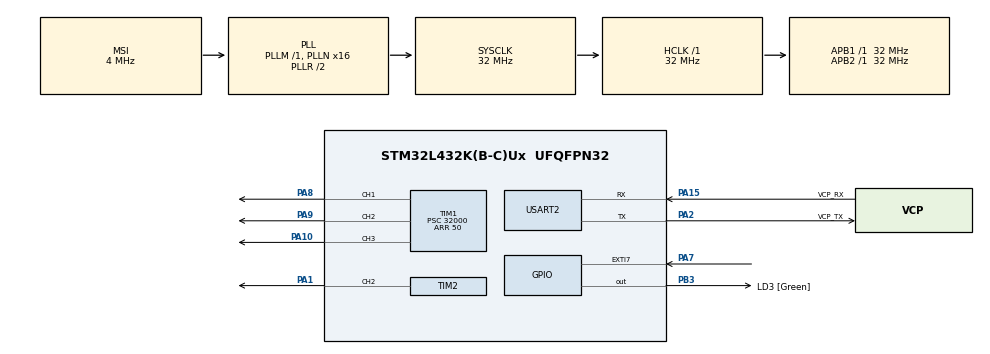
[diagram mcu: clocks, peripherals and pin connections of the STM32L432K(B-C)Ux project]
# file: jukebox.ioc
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Mcu.Family=STM32L4
Mcu.Name=STM32L432K(B-C)Ux
Mcu.Package=UFQFPN32
NVIC.EXTI9_5_IRQn=true\:0\:0\:false\:false\:true\:true\:true\:true
NVIC.PriorityGroup=NVIC_PRIORITYGROUP_4
NVIC.TIM1_BRK_TIM15_IRQn=true\:0\:0\:false\:false\:true\:true\:true\:true
NVIC.TIM1_CC_IRQn=true\:0\:0\:false\:false\:true\:true\:true\:true
NVIC.TIM1_TRG_COM_IRQn=true\:0\:0\:false\:false\:true\:true\:true\:true
NVIC.TIM1_UP_TIM16_IRQn=true\:0\:0\:false\:false\:true\:true\:true\:true
NVIC.TIM2_IRQn=true\:0\:0\:false\:false\:true\:true\:true\:true
PA0.GPIO_Label=MCO [High speed clock in]
PA0.Mode=HSE-External-Clock-Source-for-LittleOrca
PA0.Signal=RCC_CK_IN
PA1.Signal=S_TIM2_CH2
PA10.Signal=S_TIM1_CH3
PA13\ (JTMS-SWDIO).GPIO_Label=SWDIO
PA13\ (JTMS-SWDIO).Mode=Serial_Wire
PA13\ (JTMS-SWDIO).Signal=SYS_JTMS-SWDIO
PA14\ (JTCK-SWCLK).GPIO_Label=SWCLK
PA14\ (JTCK-SWCLK).Mode=Serial_Wire
PA14\ (JTCK-SWCLK).Signal=SYS_JTCK-SWCLK
PA15\ (JTDI).GPIO_Label=VCP_RX
PA15\ (JTDI).Mode=Asynchronous
PA15\ (JTDI).Signal=USART2_RX
PA2.GPIO_Label=VCP_TX
PA2.Mode=Asynchronous
PA2.Signal=USART2_TX
PA7.Signal=GPXTI7
PA8.Signal=S_TIM1_CH1
PA9.Signal=S_TIM1_CH2
PB3\ (JTDO-TRACESWO).GPIO_Label=LD3 [Green]
PB3\ (JTDO-TRACESWO).Signal=GPIO_Output
PC14-OSC32_IN\ (PC14).Mode=LSE-External-Oscillator
PC14-OSC32_IN\ (PC14).Signal=RCC_OSC32_IN
PC15-OSC32_OUT\ (PC15).Mode=LSE-External-Oscillator
PC15-OSC32_OUT\ (PC15).Signal=RCC_OSC32_OUT
ProjectManager.HeapSize=0x200
ProjectManager.StackSize=0x400
ProjectManager.TargetToolchain=Makefile
RCC.AHBFreq_Value=32000000
RCC.APB1Freq_Value=32000000
RCC.APB1TimFreq_Value=32000000
RCC.APB2Freq_Value=32000000
RCC.APB2TimFreq_Value=32000000
RCC.CortexFreq_Value=32000000
RCC.HCLKFreq_Value=32000000
RCC.HSE_VALUE=8000000
RCC.HSI16_VALUE=16000000
RCC.HSI48_VALUE=48000000
RCC.HSI_VALUE=16000000
RCC.MSI_VALUE=4000000
RCC.PLLMUL=RCC_PLLMUL_4
RCC.PLLN=16
RCC.SYSCLKFreq_VALUE=32000000
RCC.SYSCLKSource=RCC_SYSCLKSOURCE_PLLCLK
RCC.VCOOutputFreq_Value=64000000
SH.S_TIM1_CH1.0=TIM1_CH1,PWM Generation1 CH1
SH.S_TIM1_CH2.0=TIM1_CH2,PWM Generation2 CH2
SH.S_TIM1_CH3.0=TIM1_CH3,PWM Generation3 CH3
SH.S_TIM2_CH2.0=TIM2_CH2,PWM Generation2 CH2
TIM1.Channel-PWM\ Generation1\ CH1=TIM_CHANNEL_1
TIM1.Channel-PWM\ Generation2\ CH2=TIM_CHANNEL_2
TIM1.Channel-PWM\ Generation3\ CH3=TIM_CHANNEL_3
TIM1.Period=50
TIM1.Prescaler=32000
TIM1.Pulse-PWM\ Generation1\ CH1=65535
TIM1.Pulse-PWM\ Generation2\ CH2=65535
TIM1.Pulse-PWM\ Generation3\ CH3=65535
TIM15.Period=100
TIM15.Prescaler=32000
TIM2.Channel-PWM\ Generation2\ CH2=TIM_CHANNEL_2
USART2.VirtualMode-Asynchronous=VM_ASYNC
VP_TIM15_VS_ClockSourceINT.Mode=Internal
VP_TIM1_VS_ClockSourceINT.Mode=Internal
board=NUCLEO-L432KC

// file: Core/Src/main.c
/* USER CODE BEGIN Header */
/**
  ******************************************************************************
  * @file           : main.c
  * @brief          : Main program body
  ******************************************************************************
  * @attention
  *
  * Copyright (c) 2022 STMicroelectronics.
  * All rights reserved.
  *
  * This software is licensed under terms that can be found in the LICENSE file
  * in the root directory of this software component.
  * If no LICENSE file comes with this software, it is provided AS-IS.
  *
  ******************************************************************************
  */
/* USER CODE END Header */
#include "main.h"

/* USER CODE BEGIN Includes */
#include <stdio.h>
/* USER CODE END Includes */

/* USER CODE BEGIN PD */
#define NOTE_C3 131
#define NOTE_C3_S 138
#define NOTE_D3 147
#define NOTE_D3_S 155
#define NOTE_E3 165
#define NOTE_F3 174
#define NOTE_F3_S 185
#define NOTE_G3 196
#define NOTE_G3_S 207
#define NOTE_A3 220
#define NOTE_A3_S 233
#define NOTE_H3 247
#define NOTE_C4 261
#define NOTE_C4_S 277
#define NOTE_D4 293
#define NOTE_D4_S 311
#define NOTE_E4 329
#define NOTE_F4 349
#define NOTE_F4_S 370
#define NOTE_G4 392
#define NOTE_G4_S 415
#define NOTE_A4 440
#define NOTE_A4_S 466
#define NOTE_H4 494
#define NOTE_C5 523
#define NOTE_C5_S 554
#define NOTE_D5 587
#define NOTE_D5_S 622
#define NOTE_E5 659
#define NOTE_F5 698
#define NOTE_F5_S 740
#define NOTE_G5 784
#define NOTE_G5_S 830
#define NOTE_A5 880
#define NOTE_A5_S 932
#define NOTE_H5 988

#define RGB_NUM 3
/* USER CODE END PD */

 TIM_HandleTypeDef htim1;
TIM_HandleTypeDef htim2;
TIM_HandleTypeDef htim15;

UART_HandleTypeDef huart2;

/* USER CODE BEGIN PV */
int clock = 32000000;
int frequency;
int ARR;
int CCR;
int note;
int rythm;
int count = 0;
typedef enum {false, true} bool;
bool state = true;
int status_buffer = 0;
int tempo;
int wholenote;
int divide;
int duration;
// typedef struct color{
//   int red;
//   int green;
//   int blue;
// };
// typedef struct color rgb;
int red [RGB_NUM] = {255,0,0};
int orange [RGB_NUM] = {255,127,0};
int yellow [RGB_NUM] = {255,255,0};
int chartreuse [RGB_NUM] = {127,255,0};
int green [RGB_NUM] = {0,255,0};
int spring_green [RGB_NUM] = {0,255,127};
int cyan [RGB_NUM] = {0,255,255};
int azure [RGB_NUM] = {0,127,255};
int blue [RGB_NUM] = {0,0,255};
int violet [RGB_NUM] = {127,0,255};
int magenta [RGB_NUM] = {255,0,255};
int rose [RGB_NUM] = {255,0,127};
/* USER CODE END PV */

void SystemClock_Config(void);
static void MX_GPIO_Init(void);
static void MX_USART2_UART_Init(void);
static void MX_TIM1_Init(void);
static void MX_TIM2_Init(void);
static void MX_TIM15_Init(void);

/* USER CODE BEGIN 0 */
void HAL_GPIO_EXTI_Callback(uint16_t GPIO_Pin)
{
  if(GPIO_Pin == GPIO_PIN_7 && state == true){
	HAL_TIM_Base_Start_IT(&htim15);
	state = false;

  }

}

void HAL_TIM_PeriodElapsedCallback(TIM_HandleTypeDef *htim)
{
  /* Prevent unused argument(s) compilation warning */
  UNUSED(htim);

  /* NOTE : This function should not be modified, when the callback is needed,
            the HAL_TIM_PeriodElapsedCallback could be implemented in the user file
   */
	//if(HAL_GPIO_ReadPin(GPIOA, GPIO_PIN_7) == GPIO_PIN_RESET){  // should probably be used
		if(count < 3){
		      count++;
		      }
		      else{
		        count = 0;
		      }
		   // }
		state = true;
		HAL_TIM_Base_Stop_IT(&htim15);

}
int* get_note(int note){

	if(note == 131 || note == 261 || note == 523){
		return rose;
	}else if(note == 138 || note == 277 || note == 554){
		return magenta;
	}else if(note == 147 || note == 293 || note == 587){
		return violet;
	}else if(note == 155 || note == 311 || note == 622){
		return blue;
	}else if(note == 165 || note == 329 || note == 659){
		return azure;
	}else if(note == 174 || note == 349 || note == 698){
		return cyan;
	}else if(note == 185 || note == 370 || note == 740){
		return spring_green;
	}else if(note == 196 || note == 392 || note == 784){
		return green;
	}else if(note == 207 || note == 415 || note == 830){
		return chartreuse;
	}else if(note == 220 || note == 440 || note == 880){
		return yellow;
	}else if(note == 233 || note == 466 || note == 932){
		return orange;
	}else{
		return red;
	}
}

int set_color(int note)
{
  int* color = get_note(note);
  int red = *(color + 0);
  int green = *(color + 1);
  int blue = *(color + 2);
  htim1.Instance->CCR1 = red * 257;
  htim1.Instance->CCR2 = green * 257;
  htim1.Instance->CCR3 = blue * 257;

}
int reset_color()
{
  int red;
  int green;
  int blue;
  htim1.Instance->CCR1 = red * 0;
  htim1.Instance->CCR2 = green * 0;
  htim1.Instance->CCR3 = blue * 0;

}

void frequency_change(int note) {
		ARR = clock/note;
		CCR = ARR/2;
		__HAL_TIM_SET_COUNTER(&htim2, 0);
	  __HAL_TIM_SET_AUTORELOAD(&htim2, ARR);
	  __HAL_TIM_SET_COMPARE(&htim2, TIM_CHANNEL_2, CCR);
};

void play_note(int rythm, int note) {
  if(status_buffer == count){
  wholenote = 240000 / tempo;
  if(rythm <= 16 && rythm >= 0){
    duration = wholenote / rythm;
  }else if(rythm < 0){
    duration = wholenote / abs(rythm);
    duration *= 1.5;
  }else{
    duration = wholenote * 10 / rythm;
    duration *= 0.5;
  }
  HAL_TIM_PWM_Start(&htim2, TIM_CHANNEL_2);
  set_color(note);
  HAL_Delay(duration*0.9);
  reset_color();
  HAL_TIM_PWM_Stop(&htim2, TIM_CHANNEL_2);
  HAL_Delay(duration);
  }
};

void play(int note, int rythm){
	frequency_change(note);
	play_note(rythm, note);
};

void godfather(){
  status_buffer = 2;
  tempo = 100;
  play(NOTE_E4, 8);
	play(NOTE_A4, 8);
	play(NOTE_C5, 8);
  play(NOTE_H4, 8);
	play(NOTE_A4, 8);
	play(NOTE_C5, 8);
  play(NOTE_A4, 8);
  play(NOTE_H4, 8);
  play(NOTE_A4, 8);
  play(NOTE_F4, 8);
  play(NOTE_G4, 8);
  play(NOTE_E4, 8);
  play(0, 6);
  play(NOTE_E4, 8);
  play(NOTE_A4, 8);
  play(NOTE_C5, 8);
  play(NOTE_H4, 8);
  play(NOTE_A4, 8);
  play(NOTE_C5, 8);
  play(NOTE_A4, 8);
  play(NOTE_C5, 8);
  play(NOTE_A4, 8);
  play(NOTE_E4, 8);
  play(NOTE_D4_S, 8);

  play(NOTE_D4, 8);
  play(NOTE_D4, 8);
  play(NOTE_F4, 8);
  play(NOTE_G4_S, 8);
  play(NOTE_H4, 8);
  play(NOTE_D4, 8);
  play(NOTE_F4, 8);
  play(NOTE_G4_S, 8);
  play(NOTE_A4, 8);
  play(NOTE_C4, 8);
  play(NOTE_C4, 8);
  play(NOTE_G4, 8);
  play(NOTE_F4, 8);
  play(NOTE_E4, 8);
  play(NOTE_G4, 8);
  play(NOTE_F4, 8);
  play(NOTE_F4, 8);
  play(NOTE_E4, 8);
  play(NOTE_E4, 8);
  play(NOTE_G4_S, 8);

  play(NOTE_A4, 8);

}

void monkey_island(){
  status_buffer = 3;
  tempo = 140;
  play(NOTE_H4,4);
  play(NOTE_H4,40);
  play(NOTE_D5,40);
  play(NOTE_C5_S,40);
  play(NOTE_H4,40);
  play(NOTE_A4,4);
  play(NOTE_H4,-1);
  play(NOTE_A4,4);
  play(NOTE_A4,40);
  play(NOTE_G4,40);
  play(NOTE_F4_S,40);
  play(NOTE_A4,40);
  play(NOTE_G4,4);
  play(NOTE_G4,4);
  play(NOTE_F4_S,-2);
  play(NOTE_H4,4);
  play(NOTE_H4,-4);
  play(NOTE_D5,8);
  play(NOTE_C5_S,40);
  play(NOTE_H4,40);
  play(NOTE_A4,4);
  play(NOTE_H4,-2);
  play(0,8);
  play(NOTE_C5_S,8);
  play(NOTE_D5,4);
  play(NOTE_D5,4);
  play(NOTE_E5,2);

  play(NOTE_C5_S,-4);
  play(NOTE_D5,8);
  play(NOTE_C5_S,40);
  play(NOTE_H4,40);
  play(NOTE_A4,40);
  play(NOTE_C5_S,40);
  play(NOTE_D5,4);
  play(NOTE_D5,4);
  play(NOTE_C5_S,2);
  play(NOTE_H4,-4);
  play(NOTE_D5,8);
  play(NOTE_C5_S,40);
  play(NOTE_H4,40);
  play(NOTE_A4,40);
  play(NOTE_C5_S,40);
  play(NOTE_D5,4);
  play(NOTE_D5,4);
  play(NOTE_C5_S,2);
  play(NOTE_H4,-4);
  play(NOTE_D5,8);
  play(NOTE_C5_S,40);
  play(NOTE_H4,40);
  play(NOTE_A4,40);
  play(NOTE_C5_S,40);
  play(NOTE_D5,4);
  play(NOTE_D5,4);
  play(NOTE_C5_S,2);
  play(NOTE_H4,-4);
  play(NOTE_D5,8);
  play(NOTE_C5_S,40);
  play(NOTE_H4,40);
  play(NOTE_A4,4);
  play(NOTE_H4,4);
  play(NOTE_H4,4);
  play(NOTE_H4,2);
  play(NOTE_H4,-2);
  play(NOTE_H4,8);
  play(NOTE_A4,40);
  play(NOTE_G4,40);
  play(NOTE_F4_S,40);
  play(NOTE_A4,40);

  play(NOTE_G4,4);
  play(NOTE_G4,4);
  play(NOTE_F4_S,2);
  play(NOTE_F4_S,1);
  play(0,1);
  play(NOTE_F4_S,4);
  play(NOTE_A4,4);
  play(NOTE_H4,4);
  play(NOTE_D5,4);
  play(NOTE_D5,2);
  play(NOTE_G5,40);
  play(NOTE_F5_S,40);
  play(NOTE_E5,40);
  play(NOTE_G5,40);
  play(NOTE_F5_S,4);
  play(NOTE_D5,4);
  play(NOTE_D5,2);
  play(0,8);
  play(NOTE_D5,-4);
  play(NOTE_E5,4);
  play(NOTE_A4,4);

  play(NOTE_A4,-4);
  play(NOTE_E5,8);
  play(NOTE_F5_S,40);
  play(NOTE_E5,40);
  play(NOTE_D5,40);
  play(NOTE_E5,40);
  play(NOTE_F5_S,4);
  play(NOTE_D5,4);
  play(NOTE_D5,4);
  play(NOTE_H4,4);
  play(NOTE_H4,2);
  play(NOTE_C5_S,4);
  play(NOTE_D5,4);
  play(NOTE_E5,1);
  play(NOTE_E5,2);
  play(NOTE_E5,2);
  play(NOTE_H4,1);
  play(NOTE_H4,2);
};

void imperial_march() {
  status_buffer = 0;
  tempo = 120;
	play(NOTE_A4, 6);
	play(NOTE_A4, 6);
	play(NOTE_A4, 16);
  play(NOTE_A4, 16);
	play(NOTE_A4, 16);
	play(NOTE_A4, 16);
  play(NOTE_F4, 8);
  play(0, 8);
	play(NOTE_A4, 6);
	play(NOTE_A4, 6);
	play(NOTE_A4, 16);
  play(NOTE_A4, 16);
	play(NOTE_A4, 16);
	play(NOTE_A4, 16);
  play(NOTE_F4, 8);
  play(0, 8);
  play(NOTE_A4, 4);
  play(NOTE_A4, 4);
  play(NOTE_A4, 4);
  play(NOTE_F4, 12);
  play(NOTE_C5, 16);

  play(NOTE_A4, 4);
  play(NOTE_F4, 12);
  play(NOTE_C5, 16);
  play(NOTE_A4, 2);
  play(NOTE_E5, 4);
  play(NOTE_E5, 4);
  play(NOTE_E5, 4);
  play(NOTE_F5, 12);
  play(NOTE_C5, 16);
  play(NOTE_A4, 4);
  play(NOTE_F4, 12);
  play(NOTE_C5, 16);
  play(NOTE_A4, 2);

  play(NOTE_A5, 4);
  play(NOTE_A4, 12);
  play(NOTE_A4, 16);
  play(NOTE_A5, 4);
  play(NOTE_G5_S, 12);
  play(NOTE_G5, 16);
  play(NOTE_D5_S, 16);
  play(NOTE_D5, 16);
  play(NOTE_D5_S, 8);
  play(0, 8);
  play(NOTE_A4, 8);
  play(NOTE_D5_S, 4);
  play(NOTE_D5, 12);
  play(NOTE_C5_S, 16);

  play(NOTE_C5, 16);
  play(NOTE_H4, 16);
  play(NOTE_C5, 16);
  play(0, 8);
  play(NOTE_F4, 8);
  play(NOTE_G4_S, 4);
  play(NOTE_F4, 12);
  play(NOTE_A4, 24);
  play(NOTE_C5, 4);
  play(NOTE_A4, 12);
  play(NOTE_C5, 16);
  play(NOTE_E5, 2);

  play(NOTE_A5, 4);
  play(NOTE_A4, 12);
  play(NOTE_A4, 16);
  play(NOTE_A5, 4);
  play(NOTE_G5_S, 12);
  play(NOTE_G5, 16);
  play(NOTE_D5_S, 16);
  play(NOTE_D5, 16);
  play(NOTE_D5_S, 8);
  play(0, 8);
  play(NOTE_A4, 8);
  play(NOTE_D5_S, 4);
  play(NOTE_D5, 12);
  play(NOTE_C5_S, 16);

  play(NOTE_C5, 16);
  play(NOTE_H4, 16);
  play(NOTE_C5, 16);
  play(0, 8);
  play(NOTE_F4, 8);
  play(NOTE_G4_S, 4);
  play(NOTE_F4, 12);
  play(NOTE_A4, 24);
  play(NOTE_C5, 4);
  play(NOTE_A4, 12);
  play(NOTE_C5, 16);
  play(NOTE_E5, 2);

};

void tetris(){
  status_buffer = 1;
  tempo = 144;
  play(NOTE_E5, 4);
  play(NOTE_H4,8);
  play(NOTE_C5,8);
  play(NOTE_D5,4);
  play(NOTE_C5,8);
  play(NOTE_H4,8);
  play(NOTE_A4, 4);
  play(NOTE_A4,8);
  play(NOTE_C5,8);
  play(NOTE_E5,4);
  play(NOTE_D5,8);
  play(NOTE_C5,8);
  play(NOTE_H4, -4);
  play(NOTE_C5,8);
  play(NOTE_D5,4);
  play(NOTE_E5,4);
  play(NOTE_C5, 4);
  play(NOTE_A4,4);
  play(NOTE_A4,8);
  play(NOTE_A4,4);
  play(NOTE_H4,8);
  play(NOTE_C5,8);

  play(NOTE_D5, -4);
  play(NOTE_F5,8);
  play(NOTE_A5,4);
  play(NOTE_G5,8);
  play(NOTE_F5,8);
  play(NOTE_E5, -4);
  play(NOTE_C5,8);
  play(NOTE_E5,4);
  play(NOTE_D5,8);
  play(NOTE_C5,8);
  play(NOTE_H4, 4);
  play(NOTE_H4,8);
  play(NOTE_C5,8);
  play(NOTE_D5,4);
  play(NOTE_E5,4);
  play(NOTE_C5, 4);
  play(NOTE_A4,4);
  play(NOTE_A4,4);
  play(0, 4);

  play(NOTE_E5, 4);
  play(NOTE_H4,8);
  play(NOTE_C5,8);
  play(NOTE_D5,4);
  play(NOTE_C5,8);
  play(NOTE_H4,8);
  play(NOTE_A4, 4);
  play(NOTE_A4,8);
  play(NOTE_C5,8);
  play(NOTE_E5,4);
  play(NOTE_D5,8);
  play(NOTE_C5,8);
  play(NOTE_H4, -4);
  play(NOTE_C5,8);
  play(NOTE_D5,4);
  play(NOTE_E5,4);
  play(NOTE_C5, 4);
  play(NOTE_A4,4);
  play(NOTE_A4,8);
  play(NOTE_A4,4);
  play(NOTE_H4,8);
  play(NOTE_C5,8);

  play(NOTE_D5, -4);
  play(NOTE_F5,8);
  play(NOTE_A5,4);
  play(NOTE_G5,8);
  play(NOTE_F5,8);
  play(NOTE_E5, -4);
  play(NOTE_C5,8);
  play(NOTE_E5,4);
  play(NOTE_D5,8);
  play(NOTE_C5,8);
  play(NOTE_H4, 4);
  play(NOTE_H4,8);
  play(NOTE_C5,8);
  play(NOTE_D5,4);
  play(NOTE_E5,4);
  play(NOTE_C5, 4);
  play(NOTE_A4,4);
  play(NOTE_A4,4);
  play(0, 4);

  play(NOTE_E5,2);
  play(NOTE_C5,2);
  play(NOTE_D5,2);
  play(NOTE_H4,2);
  play(NOTE_C5,2);
  play(NOTE_A4,2);
  play(NOTE_G4_S,2);
  play(NOTE_H4,4);
  play(0,8);
  play(NOTE_E5,2);
  play(NOTE_C5,2);
  play(NOTE_D5,2);
  play(NOTE_H4,2);
  play(NOTE_C5,4);
  play(NOTE_E5,4);
  play(NOTE_A5,2);
  play(NOTE_G5_S,2);

}

/* USER CODE END 0 */

int main(void)
{

  /* MCU Configuration--------------------------------------------------------*/

  /* Reset of all peripherals, Initializes the Flash interface and the Systick. */
  HAL_Init();

  /* Configure the system clock */
  SystemClock_Config();

  /* Initialize all configured peripherals */
  MX_GPIO_Init();
  MX_USART2_UART_Init();
  MX_TIM1_Init();
  MX_TIM2_Init();
  MX_TIM15_Init();
  /* USER CODE BEGIN 2 */
  HAL_TIM_PWM_Start (&htim1, TIM_CHANNEL_1);
  HAL_TIM_PWM_Start (&htim1, TIM_CHANNEL_2);
  HAL_TIM_PWM_Start (&htim1, TIM_CHANNEL_3);
  /* USER CODE END 2 */

  /* Infinite loop */
  /* USER CODE BEGIN WHILE */
  while (1)
  {
    if (count == 0) {
      imperial_march();
    };
    if (count == 1) {
      tetris();

    };
    if (count == 2) {
      godfather();
    };
    if (count == 3) {
    	monkey_island();
    };

    /* USER CODE END WHILE */

  }
}

void SystemClock_Config(void)
{
  RCC_OscInitTypeDef RCC_OscInitStruct = {0};
  RCC_ClkInitTypeDef RCC_ClkInitStruct = {0};

  /** Configure the main internal regulator output voltage
  */
  if (HAL_PWREx_ControlVoltageScaling(PWR_REGULATOR_VOLTAGE_SCALE1) != HAL_OK)
  {
    Error_Handler();
  }

  /** Configure LSE Drive Capability
  */
  HAL_PWR_EnableBkUpAccess();
  __HAL_RCC_LSEDRIVE_CONFIG(RCC_LSEDRIVE_LOW);

  /** Initializes the RCC Oscillators according to the specified parameters
  * in the RCC_OscInitTypeDef structure.
  */
  RCC_OscInitStruct.OscillatorType = RCC_OSCILLATORTYPE_LSE|RCC_OSCILLATORTYPE_MSI;
  RCC_OscInitStruct.LSEState = RCC_LSE_ON;
  RCC_OscInitStruct.MSIState = RCC_MSI_ON;
  RCC_OscInitStruct.MSICalibrationValue = 0;
  RCC_OscInitStruct.MSIClockRange = RCC_MSIRANGE_6;
  RCC_OscInitStruct.PLL.PLLState = RCC_PLL_ON;
  RCC_OscInitStruct.PLL.PLLSource = RCC_PLLSOURCE_MSI;
  RCC_OscInitStruct.PLL.PLLM = 1;
  RCC_OscInitStruct.PLL.PLLN = 16;
  RCC_OscInitStruct.PLL.PLLP = RCC_PLLP_DIV7;
  RCC_OscInitStruct.PLL.PLLQ = RCC_PLLQ_DIV2;
  RCC_OscInitStruct.PLL.PLLR = RCC_PLLR_DIV2;
  if (HAL_RCC_OscConfig(&RCC_OscInitStruct) != HAL_OK)
  {
    Error_Handler();
  }

  /** Initializes the CPU, AHB and APB buses clocks
  */
  RCC_ClkInitStruct.ClockType = RCC_CLOCKTYPE_HCLK|RCC_CLOCKTYPE_SYSCLK
                              |RCC_CLOCKTYPE_PCLK1|RCC_CLOCKTYPE_PCLK2;
  RCC_ClkInitStruct.SYSCLKSource = RCC_SYSCLKSOURCE_PLLCLK;
  RCC_ClkInitStruct.AHBCLKDivider = RCC_SYSCLK_DIV1;
  RCC_ClkInitStruct.APB1CLKDivider = RCC_HCLK_DIV1;
  RCC_ClkInitStruct.APB2CLKDivider = RCC_HCLK_DIV1;

  if (HAL_RCC_ClockConfig(&RCC_ClkInitStruct, FLASH_LATENCY_1) != HAL_OK)
  {
    Error_Handler();
  }

  /** Enable MSI Auto calibration
  */
  HAL_RCCEx_EnableMSIPLLMode();
}

static void MX_TIM1_Init(void)
{

  TIM_ClockConfigTypeDef sClockSourceConfig = {0};
  TIM_MasterConfigTypeDef sMasterConfig = {0};
  TIM_OC_InitTypeDef sConfigOC = {0};
  TIM_BreakDeadTimeConfigTypeDef sBreakDeadTimeConfig = {0};

  htim1.Instance = TIM1;
  htim1.Init.Prescaler = 32000;
  htim1.Init.CounterMode = TIM_COUNTERMODE_UP;
  htim1.Init.Period = 50;
  htim1.Init.ClockDivision = TIM_CLOCKDIVISION_DIV1;
  htim1.Init.RepetitionCounter = 0;
  htim1.Init.AutoReloadPreload = TIM_AUTORELOAD_PRELOAD_DISABLE;
  if (HAL_TIM_Base_Init(&htim1) != HAL_OK)
  {
    Error_Handler();
  }
  sClockSourceConfig.ClockSource = TIM_CLOCKSOURCE_INTERNAL;
  if (HAL_TIM_ConfigClockSource(&htim1, &sClockSourceConfig) != HAL_OK)
  {
    Error_Handler();
  }
  if (HAL_TIM_PWM_Init(&htim1) != HAL_OK)
  {
    Error_Handler();
  }
  sMasterConfig.MasterOutputTrigger = TIM_TRGO_RESET;
  sMasterConfig.MasterOutputTrigger2 = TIM_TRGO2_RESET;
  sMasterConfig.MasterSlaveMode = TIM_MASTERSLAVEMODE_DISABLE;
  if (HAL_TIMEx_MasterConfigSynchronization(&htim1, &sMasterConfig) != HAL_OK)
  {
    Error_Handler();
  }
  sConfigOC.OCMode = TIM_OCMODE_PWM1;
  sConfigOC.Pulse = 65535;
  sConfigOC.OCPolarity = TIM_OCPOLARITY_HIGH;
  sConfigOC.OCNPolarity = TIM_OCNPOLARITY_HIGH;
  sConfigOC.OCFastMode = TIM_OCFAST_DISABLE;
  sConfigOC.OCIdleState = TIM_OCIDLESTATE_RESET;
  sConfigOC.OCNIdleState = TIM_OCNIDLESTATE_RESET;
  if (HAL_TIM_PWM_ConfigChannel(&htim1, &sConfigOC, TIM_CHANNEL_1) != HAL_OK)
  {
    Error_Handler();
  }
  if (HAL_TIM_PWM_ConfigChannel(&htim1, &sConfigOC, TIM_CHANNEL_2) != HAL_OK)
  {
    Error_Handler();
  }
  if (HAL_TIM_PWM_ConfigChannel(&htim1, &sConfigOC, TIM_CHANNEL_3) != HAL_OK)
  {
    Error_Handler();
  }
  sBreakDeadTimeConfig.OffStateRunMode = TIM_OSSR_DISABLE;
  sBreakDeadTimeConfig.OffStateIDLEMode = TIM_OSSI_DISABLE;
  sBreakDeadTimeConfig.LockLevel = TIM_LOCKLEVEL_OFF;
  sBreakDeadTimeConfig.DeadTime = 0;
  sBreakDeadTimeConfig.BreakState = TIM_BREAK_DISABLE;
  sBreakDeadTimeConfig.BreakPolarity = TIM_BREAKPOLARITY_HIGH;
  sBreakDeadTimeConfig.BreakFilter = 0;
  sBreakDeadTimeConfig.Break2State = TIM_BREAK2_DISABLE;
  sBreakDeadTimeConfig.Break2Polarity = TIM_BREAK2POLARITY_HIGH;
  sBreakDeadTimeConfig.Break2Filter = 0;
  sBreakDeadTimeConfig.AutomaticOutput = TIM_AUTOMATICOUTPUT_DISABLE;
  if (HAL_TIMEx_ConfigBreakDeadTime(&htim1, &sBreakDeadTimeConfig) != HAL_OK)
  {
    Error_Handler();
  }
  HAL_TIM_MspPostInit(&htim1);

}

static void MX_TIM2_Init(void)
{

  TIM_MasterConfigTypeDef sMasterConfig = {0};
  TIM_OC_InitTypeDef sConfigOC = {0};

  htim2.Instance = TIM2;
  htim2.Init.Prescaler = 0;
  htim2.Init.CounterMode = TIM_COUNTERMODE_UP;
  htim2.Init.Period = 4294967295;
  htim2.Init.ClockDivision = TIM_CLOCKDIVISION_DIV1;
  htim2.Init.AutoReloadPreload = TIM_AUTORELOAD_PRELOAD_DISABLE;
  if (HAL_TIM_PWM_Init(&htim2) != HAL_OK)
  {
    Error_Handler();
  }
  sMasterConfig.MasterOutputTrigger = TIM_TRGO_RESET;
  sMasterConfig.MasterSlaveMode = TIM_MASTERSLAVEMODE_DISABLE;
  if (HAL_TIMEx_MasterConfigSynchronization(&htim2, &sMasterConfig) != HAL_OK)
  {
    Error_Handler();
  }
  sConfigOC.OCMode = TIM_OCMODE_PWM1;
  sConfigOC.Pulse = 0;
  sConfigOC.OCPolarity = TIM_OCPOLARITY_HIGH;
  sConfigOC.OCFastMode = TIM_OCFAST_DISABLE;
  if (HAL_TIM_PWM_ConfigChannel(&htim2, &sConfigOC, TIM_CHANNEL_2) != HAL_OK)
  {
    Error_Handler();
  }
  HAL_TIM_MspPostInit(&htim2);

}

static void MX_TIM15_Init(void)
{

  TIM_ClockConfigTypeDef sClockSourceConfig = {0};
  TIM_MasterConfigTypeDef sMasterConfig = {0};

  htim15.Instance = TIM15;
  htim15.Init.Prescaler = 32000;
  htim15.Init.CounterMode = TIM_COUNTERMODE_UP;
  htim15.Init.Period = 100;
  htim15.Init.ClockDivision = TIM_CLOCKDIVISION_DIV1;
  htim15.Init.RepetitionCounter = 0;
  htim15.Init.AutoReloadPreload = TIM_AUTORELOAD_PRELOAD_DISABLE;
  if (HAL_TIM_Base_Init(&htim15) != HAL_OK)
  {
    Error_Handler();
  }
  sClockSourceConfig.ClockSource = TIM_CLOCKSOURCE_INTERNAL;
  if (HAL_TIM_ConfigClockSource(&htim15, &sClockSourceConfig) != HAL_OK)
  {
    Error_Handler();
  }
  sMasterConfig.MasterOutputTrigger = TIM_TRGO_RESET;
  sMasterConfig.MasterSlaveMode = TIM_MASTERSLAVEMODE_DISABLE;
  if (HAL_TIMEx_MasterConfigSynchronization(&htim15, &sMasterConfig) != HAL_OK)
  {
    Error_Handler();
  }

}

static void MX_USART2_UART_Init(void)
{

  huart2.Instance = USART2;
  huart2.Init.BaudRate = 115200;
  huart2.Init.WordLength = UART_WORDLENGTH_8B;
  huart2.Init.StopBits = UART_STOPBITS_1;
  huart2.Init.Parity = UART_PARITY_NONE;
  huart2.Init.Mode = UART_MODE_TX_RX;
  huart2.Init.HwFlowCtl = UART_HWCONTROL_NONE;
  huart2.Init.OverSampling = UART_OVERSAMPLING_16;
  huart2.Init.OneBitSampling = UART_ONE_BIT_SAMPLE_DISABLE;
  huart2.AdvancedInit.AdvFeatureInit = UART_ADVFEATURE_NO_INIT;
  if (HAL_UART_Init(&huart2) != HAL_OK)
  {
    Error_Handler();
  }

}

static void MX_GPIO_Init(void)
{
  GPIO_InitTypeDef GPIO_InitStruct = {0};

  /* GPIO Ports Clock Enable */
  __HAL_RCC_GPIOC_CLK_ENABLE();
  __HAL_RCC_GPIOA_CLK_ENABLE();
  __HAL_RCC_GPIOB_CLK_ENABLE();

  /*Configure GPIO pin Output Level */
  HAL_GPIO_WritePin(LD3_GPIO_Port, LD3_Pin, GPIO_PIN_RESET);

  /*Configure GPIO pin : PA7 */
  GPIO_InitStruct.Pin = GPIO_PIN_7;
  GPIO_InitStruct.Mode = GPIO_MODE_IT_RISING;
  GPIO_InitStruct.Pull = GPIO_NOPULL;
  HAL_GPIO_Init(GPIOA, &GPIO_InitStruct);

  /*Configure GPIO pin : LD3_Pin */
  GPIO_InitStruct.Pin = LD3_Pin;
  GPIO_InitStruct.Mode = GPIO_MODE_OUTPUT_PP;
  GPIO_InitStruct.Pull = GPIO_NOPULL;
  GPIO_InitStruct.Speed = GPIO_SPEED_FREQ_LOW;
  HAL_GPIO_Init(LD3_GPIO_Port, &GPIO_InitStruct);

  /* EXTI interrupt init*/
  HAL_NVIC_SetPriority(EXTI9_5_IRQn, 0, 0);
  HAL_NVIC_EnableIRQ(EXTI9_5_IRQn);

}

void Error_Handler(void)
{
  __disable_irq();
  while (1)
  {
  }
}
